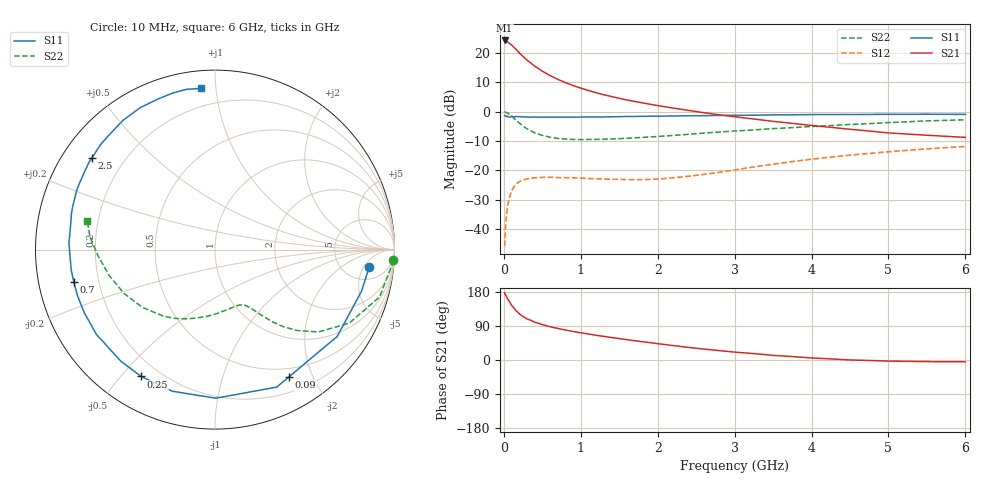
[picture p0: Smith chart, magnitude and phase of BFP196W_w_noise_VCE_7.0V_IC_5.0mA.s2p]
! Infineon Technologies  Discrete & RF Semiconductors
! BFP196W
! VCE =  7.0 V,  IC =  5.0 mA
! Common Emitter S-Parameters:  Jan 2017
# GHz  S  MA  R  50
!  f  S11  S21  S12  S22
! GHz  MAG  ANG  MAG  ANG  MAG  ANG  MAG  ANG
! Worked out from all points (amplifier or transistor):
!   77 points, 10 MHz to 6 GHz, reference 50 ohm
!   highest |S21| = 24.3 dB at 10 MHz (marker M1)
!   |S21| within 3 dB of that: start of sweep to 157 MHz
!   unconditionally stable (mu >= 1): 1.586 GHz to 3.108 GHz
!   at 130 MHz: K = 0.09, MSG = 23.8 dB, |S12| = -25.7 dB
!   at 2.2 GHz: K = 1.15, MAG = 9.5 dB, |S12| = -22.5 dB
!   at 6 GHz: K = 0.90, MSG = 1.5 dB, |S12| = -11.8 dB
!   lowest NFmin = 0.90 dB at 450 MHz
!   S11 on the Smith chart (normalised r, x): 10 MHz: 8, -7; 90 MHz: 0.38, -1.67; 250 MHz: 0.13, -0.57; 700 MHz: 0.11, -0.11; 2.5 GHz: 0.09, +0.33; 6 GHz: 0.09, +0.91
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0.01  0.8643 -6.6  16.42 177.2  0.0051 83.2  0.996 -3.4
0.02  0.8487 -15.8  16.19 172.3  0.01 87.7  0.9828 -6.4
0.05  0.8352 -35.4  15.58 161.2  0.0253 71.7  0.9546 -16.0
0.09  0.8203 -59.9  14.09 148.2  0.0407 58.7  0.8697 -25.9
0.1  0.8398 -65.8  13.84 144.6  0.0447 56.9  0.853 -28.7
0.15  0.828 -89.7  11.88 132.0  0.057 46.0  0.7371 -38.5
0.2  0.8244 -106.9  10.15 122.1  0.064 37.8  0.6437 -44.5
0.25  0.8178 -120.2  8.741 114.5  0.0689 32.1  0.5696 -48.7
0.3  0.8133 -130.2  7.604 108.7  0.0715 27.6  0.512 -51.6
0.4  0.8123 -144.4  6.012 99.8  0.0749 22.0  0.4372 -55.3
0.5  0.8087 -154.1  4.91 93.3  0.0761 18.6  0.3946 -57.7
0.6  0.808 -161.4  4.147 87.9  0.0762 16.6  0.3681 -59.9
0.7  0.8074 -167.0  3.572 83.4  0.0753 15.2  0.3509 -61.9
0.9  0.8084 -176.1  2.796 75.3  0.0746 14.4  0.3373 -66.7
1.1  0.8146 177.1  2.303 68.6  0.0726 15.4  0.3367 -71.8
1.5  0.8247 165.9  1.692 56.4  0.0703 20.4  0.3473 -83.4
2.1  0.8426 151.6  1.212 40.7  0.0728 34.5  0.3857 -101.8
2.5  0.8552 143.4  1.008 31.1  0.0823 43.5  0.4221 -114.1
3.1  0.8695 132.5  0.793 19.3  0.1068 50.6  0.477 -130.9
4.1  0.8936 116.3  0.566 4.5  0.1603 49.5  0.568 -156.5
5.1  0.9037 104.2  0.427 -3.2  0.2125 41.6  0.6608 -178.8
6  0.9019 95.1  0.365 -4.6  0.256 33.1  0.7295 167.3
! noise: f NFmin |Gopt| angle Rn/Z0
0.45  0.9  0.44  123  0.09
0.9  1.32  0.6  159  0.06
1.9  2.72  0.75  -161  0.11
2.4  3.29  0.8  -151  0.28
